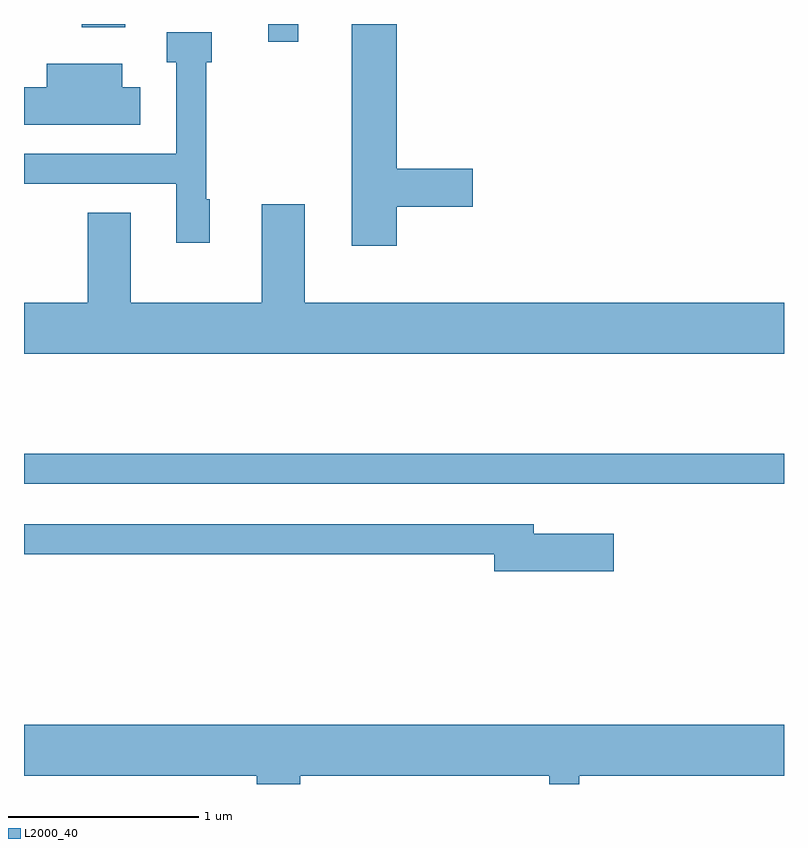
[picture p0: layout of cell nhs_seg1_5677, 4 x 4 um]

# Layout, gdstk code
import gdstk
lib = gdstk.Library(unit=1e-6, precision=1e-09)
def R(c, l, rs):  # rectangles x0, y0, x1, y1
    for r in rs: c.add(gdstk.rectangle(r[:2], r[2:], *l))
def P(c, l, *ps):  # polygons
    for p in ps: c.add(gdstk.Polygon(p, *l))
L2000_40 = (2000, 40)

nhs_seg1_5677 = lib.new_cell('nhs_seg1_5677')
R(nhs_seg1_5677, L2000_40, [(355.611,943.291,359.611,943.449), (356.896,945.618,357.054,945.712), (355.916,945.696,356.144,945.712)])
P(nhs_seg1_5677, L2000_40, [(357.574,944.751),(357.974,944.751),(357.974,944.949),(357.574,944.949),(357.574,945.712),(357.336,945.712),(357.336,944.546),(357.574,944.546)],
  [(356.589,944.789),(356.569,944.789),(356.569,945.511),(356.599,945.511),(356.599,945.669),(356.363,945.669),(356.363,945.511),(356.411,945.511),(356.411,945.029),(355.611,945.029),(355.611,944.871),(356.411,944.871),(356.411,944.561),(356.589,944.561)],
  [(356.224,945.379),(356.129,945.379),(356.129,945.504),(355.731,945.504),(355.731,945.379),(355.611,945.379),(355.611,945.181),(356.224,945.181)],
  [(359.611,944.244),(357.089,944.244),(357.089,944.764),(356.861,944.764),(356.861,944.244),(356.174,944.244),(356.174,944.719),(355.946,944.719),(355.946,944.244),(355.611,944.244),(355.611,943.976),(359.611,943.976)],
  [(358.714,943.029),(358.294,943.029),(358.294,943.079),(355.611,943.079),(355.611,942.921),(358.086,942.921),(358.086,942.831),(358.714,942.831)],
  [(357.064,941.756),(358.376,941.756),(358.376,941.712),(358.534,941.712),(358.534,941.756),(359.611,941.756),(359.611,942.024),(355.611,942.024),(355.611,941.756),(356.836,941.756),(356.836,941.712),(357.064,941.712)])

lib.write_gds('nhs_seg1_5677.gds')
